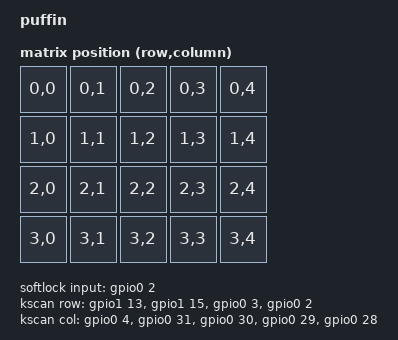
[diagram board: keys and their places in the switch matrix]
/*
 * Copyright (c) 2020 The ZMK Contributors
 *
 * SPDX-License-Identifier: MIT
 */

/dts-v1/;
#include <nordic/nrf52840_qiaa.dtsi> 
#include <dt-bindings/zmk/matrix_transform.h>
#include <dt-bindings/led/led.h>

/ {
    model = "puffin";
    compatible = "puffin","puffin";

	chosen {
		zephyr,code-partition = &code_partition;
		zephyr,sram = &sram0;
		zephyr,flash = &flash0;
		zmk,kscan = &kscan;
		zmk,matrix_transform = &ortho_transform;
		zmk,battery = &vbatt;
		zephyr,console = &cdc_acm_uart0;
		zmk,underglow = &led_strip;
	};

	aliases {
		led0 = &blue_led;
	};

	leds {
		compatible = "gpio-leds";
		blue_led: led_0 {
			gpios = <&gpio0 16 GPIO_ACTIVE_HIGH>;
			label = "Blue LED";
		};
	};

	vbatt: vbatt {
		compatible = "zmk,battery-nrf-vddh";
		label = "BATTERY";
	};

	softlock {
		compatible = "zmk,soft-locker-gpio";

		input-gpios = <&gpio0 2 (GPIO_ACTIVE_HIGH | GPIO_PULL_DOWN)>;
		wakeup-sources = <&kscan>;
		output-gpios 
			= <&gpio0 12 GPIO_ACTIVE_HIGH>
			;
	};

	ortho_transform: ortho_transform {
		compatible = "zmk,matrix-transform";
		rows = <4>;
		columns = <5>;

		map = <
	RC(0,0) RC(0,1) RC(0,2) RC(0,3) RC(0,4)
	RC(1,0) RC(1,1) RC(1,2) RC(1,3) RC(1,4)
	RC(2,0) RC(2,1) RC(2,2) RC(2,3) RC(2,4)
	RC(3,0) RC(3,1) RC(3,2) RC(3,3) RC(3,4)
	>;
	};

	kscan: kscan {
		compatible = "zmk,kscan-gpio-matrix";
		wakeup-source;
		label = "KSCAN";
		debounce-press-ms = <1>;
		debounce-release-ms = <5>;

		diode-direction = "col2row";

		col-gpios
			= <&gpio0 4 (GPIO_ACTIVE_HIGH)>
			, <&gpio0 31  (GPIO_ACTIVE_HIGH)>
			, <&gpio0 30 (GPIO_ACTIVE_HIGH)>
			, <&gpio0 29 (GPIO_ACTIVE_HIGH)>
			, <&gpio0 28 (GPIO_ACTIVE_HIGH)>
			;
		row-gpios
			= <&gpio1 13 (GPIO_ACTIVE_HIGH | GPIO_PULL_DOWN)>
			, <&gpio1 15 (GPIO_ACTIVE_HIGH | GPIO_PULL_DOWN)>
			, <&gpio0 3 (GPIO_ACTIVE_HIGH | GPIO_PULL_DOWN)>
			, <&gpio0 2 (GPIO_ACTIVE_HIGH | GPIO_PULL_DOWN)>
			;
	};
	
	trackballs {
		compatible = "zmk,keymap-trackballs";
		trackballs = <&trackball>;
	};
};

&adc {
	status = "okay";
};

&gpiote {
	status = "okay";
};

&gpio0 {
	status = "okay";
};

&gpio1 {
	status = "okay";
};


&usbd {
	status = "okay";
	cdc_acm_uart0: cdc_acm_uart0 {
		compatible = "zephyr,cdc-acm-uart";
		label = "CDC_ACM_0";
	};
}; 


&flash0 {
	/*
	 * For more information, see:
	 * http://docs.zephyrproject.org/latest/devices/dts/flash_partitions.html
	 */
	partitions {
		compatible = "fixed-partitions";
		#address-cells = <1>;
		#size-cells = <1>;

		sd_partition: partition@0 {
			label = "mbr";
			reg = <0x00000000 0x00001000>;
		};
		code_partition: partition@1000 {
			label = "code_partition";
			reg = <0x00001000 0x000d3000>;
		};

		storage_partition: partition@d4000 {
			label = "storage";
			reg = <0x000d4000 0x00020000>;
		};

		boot_partition: partition@f4000 {
			label = "adafruit_boot";
			reg = <0x000f4000 0x0000c000>;
		};
	};
};

&spi0 {
	compatible = "nordic,nrf-spim";
	status = "okay";
	sck-pin = <19>;
	mosi-pin = <23>;
	miso-pin = <21>;
	cs-gpios = <&gpio0 12 GPIO_ACTIVE_LOW>;

	trackball: pmw3360@0 {
		compatible = "pixart,pmw33xx";
		reg = <0>;
		label = "MOUSE";
		spi-max-frequency = <2000000>;
		cs-gpios = <&gpio0 12 GPIO_ACTIVE_LOW>;
		irq-gpios = <&gpio0 5 (GPIO_ACTIVE_LOW | GPIO_PULL_UP)>;
	};
};

&spi1 {
  compatible = "nordic,nrf-spim";
  status = "okay";

	sck-pin = <39>;
	mosi-pin = <40>;
	miso-pin = <40>;

  led_strip: ws2812@0 {
    compatible = "worldsemi,ws2812-spi";
    label = "WS2812";

    /* SPI */
    reg = <0>; /* ignored, but necessary for SPI bindings */
    spi-max-frequency = <4000000>;

    /* WS2812 */
    chain-length = <17>; /* number of LEDs */
    spi-one-frame = <0x70>;
    spi-zero-frame = <0x40>;
    color-mapping = <LED_COLOR_ID_GREEN
                          LED_COLOR_ID_RED
                          LED_COLOR_ID_BLUE>;
  };
};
